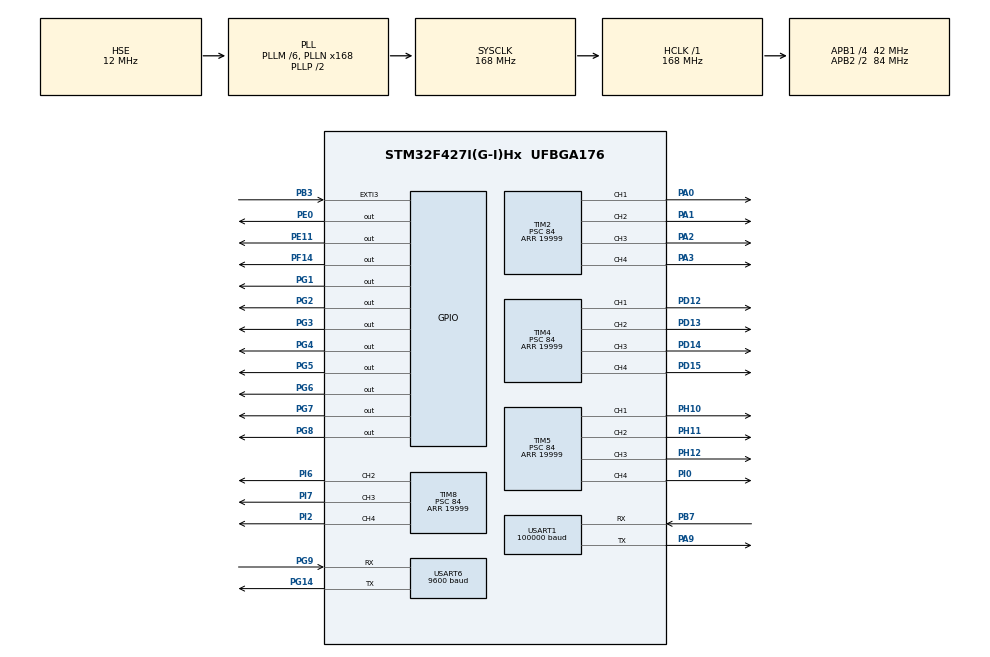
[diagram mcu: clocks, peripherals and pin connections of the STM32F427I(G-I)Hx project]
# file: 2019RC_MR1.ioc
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Dma.Request0=USART1_RX
Dma.Request1=USART6_RX
Dma.Request2=USART6_TX
Dma.USART1_RX.0.Direction=DMA_PERIPH_TO_MEMORY
Dma.USART1_RX.0.FIFOMode=DMA_FIFOMODE_DISABLE
Dma.USART1_RX.0.Instance=DMA2_Stream2
Dma.USART1_RX.0.MemDataAlignment=DMA_MDATAALIGN_BYTE
Dma.USART1_RX.0.MemInc=DMA_MINC_ENABLE
Dma.USART1_RX.0.Mode=DMA_NORMAL
Dma.USART1_RX.0.PeriphDataAlignment=DMA_PDATAALIGN_BYTE
Dma.USART1_RX.0.PeriphInc=DMA_PINC_DISABLE
Dma.USART1_RX.0.Priority=DMA_PRIORITY_LOW
Dma.USART6_RX.1.Direction=DMA_PERIPH_TO_MEMORY
Dma.USART6_RX.1.FIFOMode=DMA_FIFOMODE_DISABLE
Dma.USART6_RX.1.Instance=DMA2_Stream1
Dma.USART6_RX.1.MemDataAlignment=DMA_MDATAALIGN_BYTE
Dma.USART6_RX.1.MemInc=DMA_MINC_ENABLE
Dma.USART6_RX.1.Mode=DMA_NORMAL
Dma.USART6_RX.1.PeriphDataAlignment=DMA_PDATAALIGN_BYTE
Dma.USART6_RX.1.PeriphInc=DMA_PINC_DISABLE
Dma.USART6_RX.1.Priority=DMA_PRIORITY_LOW
Dma.USART6_TX.2.Direction=DMA_MEMORY_TO_PERIPH
Dma.USART6_TX.2.FIFOMode=DMA_FIFOMODE_DISABLE
Dma.USART6_TX.2.Instance=DMA2_Stream6
Dma.USART6_TX.2.MemDataAlignment=DMA_MDATAALIGN_BYTE
Dma.USART6_TX.2.MemInc=DMA_MINC_ENABLE
Dma.USART6_TX.2.Mode=DMA_NORMAL
Dma.USART6_TX.2.PeriphDataAlignment=DMA_PDATAALIGN_BYTE
Dma.USART6_TX.2.PeriphInc=DMA_PINC_DISABLE
Dma.USART6_TX.2.Priority=DMA_PRIORITY_LOW
FREERTOS.BinarySemaphores01=JudgeSignal,Dynamic,NULL
FREERTOS.Tasks01=MR1Other,0,128,MR1OtherTask,Default,NULL,Dynamic,NULL,NULL;LEDShowTask,0,128,LEDShow,Default,NULL,Dynamic,NULL,NULL;RobotTask,0,4096,MR1MainTask,Default,NULL,Dynamic,NULL,NULL
FREERTOS.Timers01=SuperviseTimer,SuperviseTask,osTimerPeriodic,Default,NULL,Dynamic,NULL
FREERTOS.configTIMER_TASK_PRIORITY=3
FREERTOS.configTOTAL_HEAP_SIZE=30000
FREERTOS.configUSE_TIMERS=1
Mcu.Family=STM32F4
Mcu.Name=STM32F427I(G-I)Hx
Mcu.Package=UFBGA176
NVIC.DMA2_Stream1_IRQn=true\:5\:0\:false\:false\:true\:true\:false
NVIC.DMA2_Stream2_IRQn=true\:5\:0\:false\:false\:true\:true\:false
NVIC.DMA2_Stream6_IRQn=true\:5\:0\:false\:false\:true\:true\:false
NVIC.EXTI3_IRQn=true\:5\:0\:false\:false\:true\:true\:true
NVIC.PriorityGroup=NVIC_PRIORITYGROUP_4
NVIC.TIM7_IRQn=true\:0\:0\:false\:false\:true\:false\:false
NVIC.TimeBase=TIM7_IRQn
NVIC.TimeBaseIP=TIM7
PA0/WKUP.Signal=S_TIM2_CH1_ETR
PA1.Signal=S_TIM2_CH2
PA13.Mode=Serial_Wire
PA13.Signal=SYS_JTMS-SWDIO
PA14.Mode=Serial_Wire
PA14.Signal=SYS_JTCK-SWCLK
PA2.Signal=S_TIM2_CH3
PA3.Signal=S_TIM2_CH4
PA9.Mode=Asynchronous
PA9.Signal=USART1_TX
PB12.Signal=CAN2_RX
PB3.Signal=GPXTI3
PB7.Mode=Asynchronous
PB7.Signal=USART1_RX
PD0.Signal=CAN1_RX
PD1.Signal=CAN1_TX
PD10.Signal=USART3_CK
PD12.Signal=S_TIM4_CH1
PD13.Signal=S_TIM4_CH2
PD14.Signal=S_TIM4_CH3
PD15.Signal=S_TIM4_CH4
PE0.GPIO_PuPd=GPIO_PULLUP
PE0.GPIO_Speed=GPIO_SPEED_FREQ_HIGH
PE0.Signal=GPIO_Output
PE11.Signal=GPIO_Output
PE7.Signal=UART7_RX
PE8.Signal=UART7_TX
PF14.Signal=GPIO_Output
PG1.Signal=GPIO_Output
PG14.Mode=Asynchronous
PG14.Signal=USART6_TX
PG2.Signal=GPIO_Output
PG3.Signal=GPIO_Output
PG4.Signal=GPIO_Output
PG5.Signal=GPIO_Output
PG6.Signal=GPIO_Output
PG7.Signal=GPIO_Output
PG8.Signal=GPIO_Output
PG9.Mode=Asynchronous
PG9.Signal=USART6_RX
PH0/OSC_IN.Mode=HSE-External-Oscillator
PH0/OSC_IN.Signal=RCC_OSC_IN
PH1/OSC_OUT.Mode=HSE-External-Oscillator
PH1/OSC_OUT.Signal=RCC_OSC_OUT
PH10.Signal=S_TIM5_CH1
PH11.Signal=S_TIM5_CH2
PH12.Signal=S_TIM5_CH3
PI0.Signal=S_TIM5_CH4
PI2.Signal=S_TIM8_CH4
PI5.Signal=S_TIM8_CH1
PI6.Signal=S_TIM8_CH2
PI7.Signal=S_TIM8_CH3
ProjectManager.HeapSize=0x200
ProjectManager.StackSize=0x400
ProjectManager.TargetToolchain=MDK-ARM V5
RCC.48MHZClocksFreq_Value=84000000
RCC.AHBFreq_Value=168000000
RCC.APB1CLKDivider=RCC_HCLK_DIV4
RCC.APB1Freq_Value=42000000
RCC.APB1TimFreq_Value=84000000
RCC.APB2CLKDivider=RCC_HCLK_DIV2
RCC.APB2Freq_Value=84000000
RCC.APB2TimFreq_Value=168000000
RCC.CortexFreq_Value=168000000
RCC.HCLKFreq_Value=168000000
RCC.HSE_VALUE=12000000
RCC.HSI_VALUE=16000000
RCC.LSE_VALUE=32768
RCC.PLLM=6
RCC.PLLN=168
RCC.PLLSourceVirtual=RCC_PLLSOURCE_HSE
RCC.SYSCLKFreq_VALUE=168000000
RCC.SYSCLKSource=RCC_SYSCLKSOURCE_PLLCLK
RCC.VCOOutputFreq_Value=336000000
SH.S_TIM2_CH1_ETR.0=TIM2_CH1,PWM Generation1 CH1
SH.S_TIM2_CH2.0=TIM2_CH2,PWM Generation2 CH2
SH.S_TIM2_CH3.0=TIM2_CH3,PWM Generation3 CH3
SH.S_TIM2_CH4.0=TIM2_CH4,PWM Generation4 CH4
SH.S_TIM4_CH1.0=TIM4_CH1,PWM Generation1 CH1
SH.S_TIM4_CH2.0=TIM4_CH2,PWM Generation2 CH2
SH.S_TIM4_CH3.0=TIM4_CH3,PWM Generation3 CH3
SH.S_TIM4_CH4.0=TIM4_CH4,PWM Generation4 CH4
SH.S_TIM5_CH1.0=TIM5_CH1,PWM Generation1 CH1
SH.S_TIM5_CH2.0=TIM5_CH2,PWM Generation2 CH2
SH.S_TIM5_CH3.0=TIM5_CH3,PWM Generation3 CH3
SH.S_TIM5_CH4.0=TIM5_CH4,PWM Generation4 CH4
SH.S_TIM8_CH1.0=TIM8_CH1
SH.S_TIM8_CH2.0=TIM8_CH2,PWM Generation2 CH2
SH.S_TIM8_CH3.0=TIM8_CH3,PWM Generation3 CH3
SH.S_TIM8_CH4.0=TIM8_CH4,PWM Generation4 CH4
TIM2.Channel-PWM\ Generation1\ CH1=TIM_CHANNEL_1
TIM2.Channel-PWM\ Generation2\ CH2=TIM_CHANNEL_2
TIM2.Channel-PWM\ Generation3\ CH3=TIM_CHANNEL_3
TIM2.Channel-PWM\ Generation4\ CH4=TIM_CHANNEL_4
TIM2.Period=19999
TIM2.Prescaler=84
TIM2.Pulse-PWM\ Generation1\ CH1=1000
TIM2.Pulse-PWM\ Generation2\ CH2=1000
TIM2.Pulse-PWM\ Generation3\ CH3=1000
TIM2.Pulse-PWM\ Generation4\ CH4=1000
TIM4.Channel-PWM\ Generation1\ CH1=TIM_CHANNEL_1
TIM4.Channel-PWM\ Generation2\ CH2=TIM_CHANNEL_2
TIM4.Channel-PWM\ Generation3\ CH3=TIM_CHANNEL_3
TIM4.Channel-PWM\ Generation4\ CH4=TIM_CHANNEL_4
TIM4.Period=19999
TIM4.Prescaler=84
TIM4.Pulse-PWM\ Generation1\ CH1=1000
TIM4.Pulse-PWM\ Generation2\ CH2=1000
TIM4.Pulse-PWM\ Generation3\ CH3=1000
TIM4.Pulse-PWM\ Generation4\ CH4=1000
TIM5.Channel-PWM\ Generation1\ CH1=TIM_CHANNEL_1
TIM5.Channel-PWM\ Generation2\ CH2=TIM_CHANNEL_2
TIM5.Channel-PWM\ Generation3\ CH3=TIM_CHANNEL_3
TIM5.Channel-PWM\ Generation4\ CH4=TIM_CHANNEL_4
TIM5.Period=19999
TIM5.Prescaler=84
TIM5.Pulse-PWM\ Generation1\ CH1=1000
TIM5.Pulse-PWM\ Generation2\ CH2=1000
TIM5.Pulse-PWM\ Generation3\ CH3=1000
TIM5.Pulse-PWM\ Generation4\ CH4=1000
TIM8.Channel-PWM\ Generation2\ CH2=TIM_CHANNEL_2
TIM8.Channel-PWM\ Generation3\ CH3=TIM_CHANNEL_3
TIM8.Channel-PWM\ Generation4\ CH4=TIM_CHANNEL_4
TIM8.OCMode_PWM-PWM\ Generation2\ CH2=TIM_OCMODE_PWM2
TIM8.OCMode_PWM-PWM\ Generation3\ CH3=TIM_OCMODE_PWM2
TIM8.OCMode_PWM-PWM\ Generation4\ CH4=TIM_OCMODE_PWM2
TIM8.Period=19999
TIM8.Prescaler=84
TIM8.Pulse-PWM\ Generation2\ CH2=1000
TIM8.Pulse-PWM\ Generation3\ CH3=1000
TIM8.Pulse-PWM\ Generation4\ CH4=1000
USART1.BaudRate=100000
USART1.Parity=PARITY_EVEN
USART1.VirtualMode=VM_ASYNC
USART6.BaudRate=9600
USART6.VirtualMode=VM_ASYNC
VP_FREERTOS_VS_ENABLE.Mode=Enabled
VP_SYS_VS_tim7.Mode=TIM7
board=custom

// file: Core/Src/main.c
/* USER CODE BEGIN Header */
/**
  *****************************************************************************
	*文件名                ：main.c
	*文件描述              ：机器人主函数入口，完成机器人各个外设的初始化
	*创建时间              ：2019.01.16
	*作者                  ：Robocon
	*感谢             		 ：谢胜
	*------------------------------------------------------------------------------
	*最近修改时间          ：2019.01.16
	*修改人                ：Robocon
	*****************************************************************************
	*1.本代码基于STM32F427IIH6，编译环境为Keil 5，基于FreeRTOS进行开发
	*2.本代码适用于Robocon 2019MR1机器人
	*3.本代码以UTF-8格式编码，请勿以ANST编码形式打开
	*4.本代码还有未完善的地方
	*5.本代码最终解释权归哈尔滨工业大学（深圳）Robocon战队所有
	*****************************************************************************
  */
/* USER CODE END Header */

#include "main.h"
#include "cmsis_os.h"
#include "dma.h"
#include "tim.h"
#include "usart.h"
#include "gpio.h"

/* USER CODE BEGIN Includes */

#include "UsartReceive.h"
#include "MR2Init.h"
/* USER CODE END Includes */

void SystemClock_Config(void);
void MX_FREERTOS_Init(void);
/* USER CODE BEGIN PFP */
//extern uint8_t GyroReceiveData; /*陀螺仪接收数据*/
/* USER CODE END PFP */

int main(void)
{

  /* MCU Configuration--------------------------------------------------------*/

  /* Reset of all peripherals, Initializes the Flash interface and the Systick. */
  HAL_Init();

  /* Configure the system clock */
  SystemClock_Config();

  /* Initialize all configured peripherals */
  MX_GPIO_Init();
  MX_DMA_Init();
  MX_USART1_UART_Init();
  MX_USART6_UART_Init();
  MX_TIM2_Init();
  MX_TIM4_Init();
  MX_TIM5_Init();
  MX_TIM8_Init();
  /* USER CODE BEGIN 2 */
	HAL_TIM_Base_Start_IT(&htim2);
	HAL_TIM_Base_Start_IT(&htim4);
	HAL_TIM_Base_Start_IT(&htim5);
	HAL_TIM_Base_Start_IT(&htim8);
	HAL_TIM_PWM_Start(&htim2, TIM_CHANNEL_1);
	HAL_TIM_PWM_Start(&htim2, TIM_CHANNEL_2);
	HAL_TIM_PWM_Start(&htim2, TIM_CHANNEL_3);
		HAL_TIM_PWM_Start(&htim2, TIM_CHANNEL_4);
	HAL_TIM_PWM_Start(&htim4, TIM_CHANNEL_1);
	HAL_TIM_PWM_Start(&htim4, TIM_CHANNEL_2);
	HAL_TIM_PWM_Start(&htim4, TIM_CHANNEL_3);
	HAL_TIM_PWM_Start(&htim4, TIM_CHANNEL_4);
	HAL_TIM_PWM_Start(&htim5, TIM_CHANNEL_2);
	HAL_TIM_PWM_Start(&htim5, TIM_CHANNEL_3);
	HAL_TIM_PWM_Start(&htim5, TIM_CHANNEL_4);
	HAL_TIM_PWM_Start(&htim5, TIM_CHANNEL_1);
	HAL_TIM_PWM_Start(&htim8, TIM_CHANNEL_2);
	HAL_TIM_PWM_Start(&htim8, TIM_CHANNEL_3);
	HAL_TIM_PWM_Start(&htim8, TIM_CHANNEL_4);
	HAL_UART_Receive_DMA(&huart6, &UsartReceiveGyro, 1u);
  HAL_UART_Receive_DMA(&huart1, UsartReceiveRemote, 18u);
  /* USER CODE END 2 */

  /* Call init function for freertos objects (in freertos.c) */
  MX_FREERTOS_Init();

  /* Start scheduler */
  osKernelStart();

  /* We should never get here as control is now taken by the scheduler */

  /* Infinite loop */
  while (1)
  {

  }
}

void SystemClock_Config(void)
{
  RCC_OscInitTypeDef RCC_OscInitStruct = {0};
  RCC_ClkInitTypeDef RCC_ClkInitStruct = {0};

  /**Configure the main internal regulator output voltage
  */
  __HAL_RCC_PWR_CLK_ENABLE();
  __HAL_PWR_VOLTAGESCALING_CONFIG(PWR_REGULATOR_VOLTAGE_SCALE1);
  /**Initializes the CPU, AHB and APB busses clocks
  */
  RCC_OscInitStruct.OscillatorType = RCC_OSCILLATORTYPE_HSE;
  RCC_OscInitStruct.HSEState = RCC_HSE_ON;
  RCC_OscInitStruct.PLL.PLLState = RCC_PLL_ON;
  RCC_OscInitStruct.PLL.PLLSource = RCC_PLLSOURCE_HSE;
  RCC_OscInitStruct.PLL.PLLM = 6;
  RCC_OscInitStruct.PLL.PLLN = 168;
  RCC_OscInitStruct.PLL.PLLP = RCC_PLLP_DIV2;
  RCC_OscInitStruct.PLL.PLLQ = 4;
  if (HAL_RCC_OscConfig(&RCC_OscInitStruct) != HAL_OK)
  {
    Error_Handler();
  }
  /**Initializes the CPU, AHB and APB busses clocks
  */
  RCC_ClkInitStruct.ClockType = RCC_CLOCKTYPE_HCLK|RCC_CLOCKTYPE_SYSCLK
                              |RCC_CLOCKTYPE_PCLK1|RCC_CLOCKTYPE_PCLK2;
  RCC_ClkInitStruct.SYSCLKSource = RCC_SYSCLKSOURCE_PLLCLK;
  RCC_ClkInitStruct.AHBCLKDivider = RCC_SYSCLK_DIV1;
  RCC_ClkInitStruct.APB1CLKDivider = RCC_HCLK_DIV4;
  RCC_ClkInitStruct.APB2CLKDivider = RCC_HCLK_DIV2;

  if (HAL_RCC_ClockConfig(&RCC_ClkInitStruct, FLASH_LATENCY_5) != HAL_OK)
  {
    Error_Handler();
  }
}

void HAL_TIM_PeriodElapsedCallback(TIM_HandleTypeDef *htim)
{
  if (htim->Instance == TIM7) {
    HAL_IncTick();
  }
}

void Error_Handler(void)
{
}

/************************ (C) COPYRIGHT STMicroelectronics *****END OF FILE****/

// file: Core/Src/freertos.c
/* USER CODE BEGIN Header */
/**
  ******************************************************************************
  * 文件�?          : freertos.c
  * 创建时间        : 2019.02.12
  * 作�??            : 任云�?
  *-----------------------------------------------------------------------------
  * �?近修改时�?    : 2019.02.15
  * 修改�?          : 任云�?
  ******************************************************************************
  *									文件描述								   *
  ******************************************************************************
  *	freertos操作系统，MR1�?有工作的循环进行位置
  ******************************************************************************
  * 1.本代码基于STM32F427IIH6�?发，编译环境为Keil 5，基于FreeRTOS进行�?发�??
  * 2.本代码只适用于Robocon 2019MR1机器人，不建议用于其他用�?
  * 3.本代码以UTF-8格式编码，请勿以ANSI编码形式打开
  * 4.本代码包含大量中文注释，请仔细�?�读代码后使�?
  * 5.本代码最终解释权归哈尔滨工业大学（深圳）Robocon战队�?�?
  *
  * Copyright (c) 2019 哈尔滨工业大学（深圳）Robocon战队 版权�?�?
  ******************************************************************************
  */
/* USER CODE END Header */

#include "FreeRTOS.h"
#include "task.h"
#include "main.h"
#include "cmsis_os.h"

/* USER CODE BEGIN Includes */
#include "gpio.h"
#include "usart.h"
#include "UsartReceive.h"
#include "MR2Init.h"
#include "Action.h"
#include "LED.h"
#include "SendSignal.h"

/* USER CODE END Includes */

/* USER CODE BEGIN PD */
#define CHASSIS
/* USER CODE END PD */

osThreadId MR1OtherHandle;
osThreadId LEDShowTaskHandle;
osThreadId RobotTaskHandle;
osTimerId SuperviseTimerHandle;
osSemaphoreId JudgeSignalHandle;

void MR1OtherTask(void const * argument);
void LEDShow(void const * argument);
void MR1MainTask(void const * argument);
void SuperviseTask(void const * argument);

void MX_FREERTOS_Init(void); /* (MISRA C 2004 rule 8.1) */

void MX_FREERTOS_Init(void) {

  /* Create the semaphores(s) */
  /* definition and creation of JudgeSignal */
  osSemaphoreDef(JudgeSignal);
  JudgeSignalHandle = osSemaphoreCreate(osSemaphore(JudgeSignal), 1);

  /* Create the timer(s) */
  /* definition and creation of SuperviseTimer */
  osTimerDef(SuperviseTimer, SuperviseTask);
  SuperviseTimerHandle = osTimerCreate(osTimer(SuperviseTimer), osTimerPeriodic, NULL);

  /* USER CODE BEGIN RTOS_TIMERS */
  /* start timers, add new ones, ... */
		osTimerStart(SuperviseTimerHandle, 2);                   //���ϵͳÿ2msִ��һ��
  /* USER CODE END RTOS_TIMERS */

  /* Create the thread(s) */
  /* definition and creation of MR1Other */
  osThreadDef(MR1Other, MR1OtherTask, osPriorityNormal, 0, 128);
  MR1OtherHandle = osThreadCreate(osThread(MR1Other), NULL);

  /* definition and creation of LEDShowTask */
  osThreadDef(LEDShowTask, LEDShow, osPriorityNormal, 0, 128);
  LEDShowTaskHandle = osThreadCreate(osThread(LEDShowTask), NULL);

  /* definition and creation of RobotTask */
  osThreadDef(RobotTask, MR1MainTask, osPriorityNormal, 0, 4096);
  RobotTaskHandle = osThreadCreate(osThread(RobotTask), NULL);

}

void MR1OtherTask(void const * argument)
{

  for(;;)
  {
    osDelay(1);
  }
}

/* USER CODE BEGIN Header_LEDShow */
/**
* @brief LED闪烁线程
* @param None
* @retval None
*/
/* USER CODE END Header_LEDShow */
void LEDShow(void const * argument)
{
  /* USER CODE BEGIN LEDShow */
	HAL_GPIO_WritePin(GPIOE,GPIO_PIN_11,GPIO_PIN_SET);//初始化为熄灭
	HAL_GPIO_WritePin(GPIOF,GPIO_PIN_14,GPIO_PIN_SET);//停止状�?�红灯亮
  /* Infinite loop */
  for(;;)
  {
    /*
		switch(MR1.WorkState)
		{
			case L1_R2_MANUAL:
				LED_MANUAL();break;
			case L2_Rx_STOP:
				LED_STOP();break;
			case L3_R2_Move:
				LED_HIGH();break;
			default:;
		}*/
               HAL_GPIO_TogglePin(GPIOG, GPIO_PIN_1);
               HAL_Delay(SPEED);
               HAL_GPIO_TogglePin(GPIOG, GPIO_PIN_2);
               HAL_Delay(SPEED);
               HAL_GPIO_TogglePin(GPIOG, GPIO_PIN_3);
               HAL_Delay(SPEED);
               HAL_GPIO_TogglePin(GPIOG, GPIO_PIN_4);
               HAL_Delay(SPEED);
               HAL_GPIO_TogglePin(GPIOG, GPIO_PIN_5);
               HAL_Delay(SPEED);
               HAL_GPIO_TogglePin(GPIOG, GPIO_PIN_6);
               HAL_Delay(SPEED);
               HAL_GPIO_TogglePin(GPIOG, GPIO_PIN_7);
               HAL_Delay(SPEED);
               HAL_GPIO_TogglePin(GPIOG, GPIO_PIN_8);
  }
  /* USER CODE END LEDShow */
}

void MR1MainTask(void const * argument)
{
		/* USER CODE BEGIN MR1MainTask */
  /* Infinite loop */
//	int countt = 1;
  for(;;)
  {
		testServos(0);
//		countt = -countt;
//		SquatRise(countt);
	  //MR2.Angle[1][1] = 20;
		//setAngle(1);
		//sendAngle(1,3,MR2.OutPutAngle[1][1]);
//    osDelay(1);
  }
  /* USER CODE END MR1MainTask */
}

/* SuperviseTask function */
void SuperviseTask(void const * argument)
{
}

/************************ (C) COPYRIGHT STMicroelectronics *****END OF FILE****/
